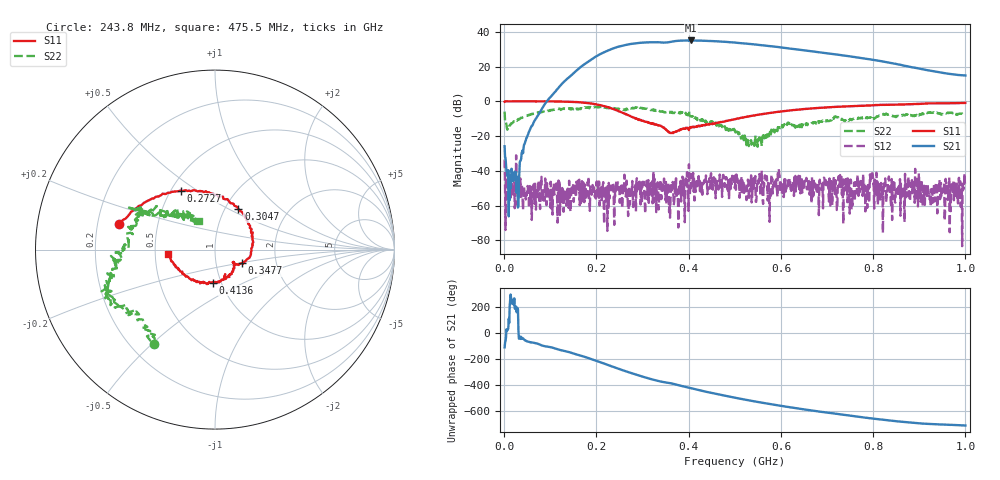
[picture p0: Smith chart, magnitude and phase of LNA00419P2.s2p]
! Created with skrf 1.9.0 (http://scikit-rf.org).
# Hz S RI R 50.0
!freq ReS11 ImS11 ReS21 ImS21 ReS12 ImS12 ReS22 ImS22
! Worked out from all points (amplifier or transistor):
!   1001 points, 1 MHz to 1 GHz, reference 50 ohm
!   highest |S21| = 35.1 dB at 404.6 MHz (marker M1)
!   |S21| within 3 dB of that: 256.6 MHz to 568.3 MHz (311.8 MHz wide, 75.6 % of centre)
!   unconditionally stable (mu >= 1): 260.9 MHz to 323.4 MHz; 323.9 MHz to 400.4 MHz; 401.2 MHz to end of sweep (the widest 3 of 44)
!   at 166.8 MHz: K = 2.15, MAG = 30.1 dB, |S12| = -52.5 dB
!   at 500.5 MHz: K = 2.77, MAG = 34.3 dB, |S12| = -49.4 dB
!   at 1 GHz: K = 3.14, MAG = 23.4 dB, |S12| = -47.6 dB
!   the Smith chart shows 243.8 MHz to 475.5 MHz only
!   S11 on the Smith chart (normalised r, x): 243.8 MHz: 0.29, +0.12; 272.7 MHz: 0.56, +0.43; 304.7 MHz: 1.15, +0.56; 347.7 MHz: 1.33, -0.21; 413.6 MHz: 0.91, -0.35; 475.5 MHz: 0.59, -0.03
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1000000  0.9753 -0.00133  -0.0188 -0.0473  -0.0205 0.0051  0.3963 0.3125
1.08892e8  0.5242 -0.8491  -0.8425 -1.577  0.000486 0.00201  0.4238 -0.3854
1.67833e8  -0.2274 -0.9014  -10.19 -0.4808  0.00227 8.87e-05  0.0322 -0.6327
2.09791e8  -0.6628 -0.3928  -15.72 17.33  -0.00331 0.00184  -0.2086 -0.6528
2.26774e8  -0.6632 -0.105  -10.24 27.9  -0.00365 0.00259  -0.3043 -0.5824
2.43757e8  -0.5322 0.1405  1.043 36.01  0.00227 -0.000771  -0.3377 -0.5251
2.72728e8  -0.1904 0.3292  26.51 35.75  0.000853 0.00062  -0.5589 -0.3218
3.04696e8  0.1306 0.2269  47.2 14.82  0.00125 0.00119  -0.5839 -0.1876
3.34666e8  0.2034 -0.00558  49.13 -10.1  -0.000692 0.000331  -0.534 -0.015
3.47653e8  0.1479 -0.0753  45.9 -17.8  -0.00283 0.000921  -0.4803 0.0516
3.72628e8  0.1094 -0.0848  42.76 -34.01  -0.00206 0.00574  -0.4461 0.1658
4.04596e8  0.0324 -0.1735  21.69 -52.27  0.00046 0.00308  -0.3148 0.1955
4.13587e8  -0.012 -0.1841  14.51 -54.32  0.000709 0.00461  -0.2652 0.2147
4.42558e8  -0.149 -0.1536  -7.723 -54.39  0.00344 0.00197  -0.1627 0.2094
4.75525e8  -0.2592 -0.0271  -28.26 -43.69  0.00758 0.000371  -0.0865 0.1577
5.005e8  -0.2867 0.1027  -38.2 -31.25  0.0014 -0.00308  -0.0991 0.1067
5.4046e8  -0.2327 0.3123  -42.68 -9.576  0.00308 0.000431  -0.0697 0.0133
5.88412e8  -0.0487 0.4825  -35.68 10.99  0.00222 -0.00295  -0.1239 -0.0852
6.67333e8  0.3264 0.5328  -13.79 23.61  -0.0015 -0.0063  -0.2316 -0.0426
7.53247e8  0.6258 0.3652  3.644 18.99  4.65e-05 -0.000748  -0.2852 0.0241
8.34166e8  0.7818 0.14  9.362 9.08  -0.00521 -0.00443  -0.4111 0.0778
1e9  0.8128 -0.3888  5.532 0.4877  -0.00371 0.00188  -0.1915 0.3987
